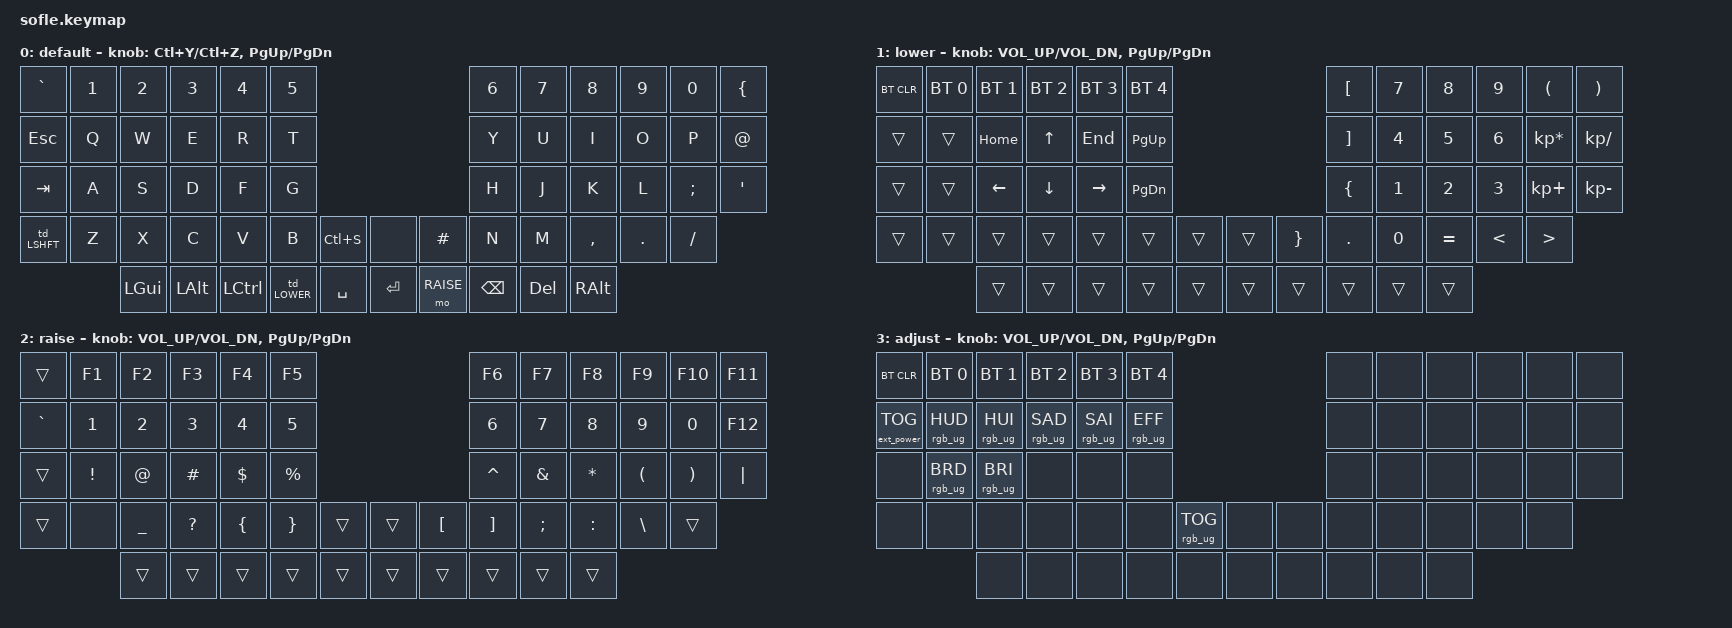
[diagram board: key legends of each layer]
/*
 * Copyright (c) 2020 The ZMK Contributors
 *
 * SPDX-License-Identifier: MIT
 */

#include <behaviors.dtsi>
#include <dt-bindings/zmk/keys.h>
#include <dt-bindings/zmk/bt.h>
#include <dt-bindings/zmk/rgb.h>
#include <dt-bindings/zmk/ext_power.h>
#include <dt-bindings/zmk/pointing.h>

#define MO_TOG(layer) &mo_tog layer layer   // Macro to apply momentary-layer-on-hold/toggle-layer-on-tap to a specific layer

#define BASE 0
#define LOWER 1
#define RAISE 2
#define ADJUST 3

&led_strip {
    chain-length = <36>;
};

&nice_view_spi {
    cs-gpios = <&pro_micro 4 GPIO_ACTIVE_HIGH>;
};

/ {

   // Activate ADJUST layer by pressing raise and lower
    conditional_layers {
        compatible = "zmk,conditional-layers";
        adjust_layer {
            if-layers = <LOWER RAISE>;
            then-layer = <ADJUST>;
        };
    };

    behaviors {
        td_LSHFT: tap_dance_mod_tap_lshift {
            compatible = "zmk,behavior-tap-dance";
            #binding-cells = <0>;
            tapping-term-ms = <200>;
            bindings = <&kp LSHIFT>, <&kt LSHIFT>;
        };
        td_LOWER: tap_dance_mod_tap_lower {
            compatible = "zmk,behavior-tap-dance";
            #binding-cells = <0>;
            tapping-term-ms = <200>;
            bindings = <&mo LOWER>, <&tog LOWER>;
        };
        mo_tog: behavior_mo_tog {
            compatible = "zmk,behavior-hold-tap";
            #binding-cells = <2>;
            flavor = "hold-preferred";
            tapping-term-ms = <200>;
            bindings = <&mo>, <&tog>;
        };
        scroll_encoder: scroll_encoder {
            compatible = "zmk,behavior-sensor-rotate";
            #sensor-binding-cells = <0>;
            bindings = <&msc SCRL_UP>, <&msc SCRL_DOWN>;
        };
    };
    
    keymap {
        compatible = "zmk,keymap";

        default_layer {
            display-name = "default";
                // ------------------------------------------------------------------------------------------------------------
                // |   `   |  1  |  2  |  3   |  4   |  5   |                   |  6   |  7    |  8    |  9   |   0   |   {   |
                // |  ESC  |  Q  |  W  |  E   |  R   |  T   |                   |  Y   |  U    |  I    |  O   |   P   |   @   |
                // |  TAB  |  A  |  S  |  D   |  F   |  G   |                   |  H   |  J    |  K    |  L   |   ;   |   '   |
                // | SHIFT |  Z  |  X  |  C   |  V   |  B   |  SAVE  |  |       |  #   |  N    |  M    |  ,   |   .   |   /   |
                //               | GUI | ALT  | CTRL | LOWER|  SPACE |  | ENTER | RAISE| BKSPC | DEL   |  ALT |
            bindings = <
                &kp GRAVE &kp N1 &kp N2   &kp N3   &kp N4    &kp N5                               &kp N6    &kp N7    &kp N8    &kp N9     &kp N0   &kp LBRC
                &kp ESC   &kp Q  &kp W    &kp E    &kp R     &kp T                                &kp Y     &kp U     &kp I     &kp O      &kp P    &kp AT
                &kp TAB   &kp A  &kp S    &kp D    &kp F     &kp G                                &kp H     &kp J     &kp K     &kp L      &kp SEMI &kp SQT
                &td_LSHFT &kp Z  &kp X    &kp C    &kp V     &kp B     &kp LC(S)    &none    &kp HASH  &kp N     &kp M     &kp COMMA  &kp DOT  &kp FSLH
                                 &kp LGUI &kp LALT &kp LCTRL &td_LOWER &kp SPACE    &kp RET  &mo RAISE &kp BSPC  &kp DEL   &kp RALT
            >;
            sensor-bindings = <
                &inc_dec_kp LC(Y) LC(Z) 
                &inc_dec_kp PG_UP PG_DN
                >;
        };

        lower_layer {
            display-name = "lower";
                // ------------------------------------------------------------------------------------------------------------
                // | BTCLR | BT1  | BT2  |  BT3  |  BT4  |  BT5 |                                           |   [  |  7   |   8   |  9   |  (    |   )   |
                // |       |      | HOME |   ^   |  END  | PGUP |                                           |   ]  |  4   |   5   |  6   |   *   |   /   |
                // |       |      |  <-  |   v   |   ->  | PGDN |                                           |   {  |  1   |   2   |  3   |   +   |   -   |
                // |       |      |      |       |       |      |      |                             |      |   }  |  .   |   0   |  =   |   <   |   >   |
                //                |      |       |       |      |      |                             |      |      |      |       |      |
            bindings = <
                &bt BT_CLR &bt BT_SEL 0 &bt BT_SEL 1 &bt BT_SEL 2 &bt BT_SEL 3 &bt BT_SEL 4                  &kp LBKT    &kp N7    &kp N8   &kp N9       &kp LPAR        &kp RPAR
                &trans     &trans       &kp HOME     &kp UP       &kp END      &kp PG_UP                     &kp RBKT    &kp N4    &kp N5   &kp N6       &kp KP_ASTERISK &kp KP_SLASH
                &trans     &trans       &kp LEFT     &kp DOWN     &kp RIGHT    &kp PG_DN                     &kp LBRC    &kp N1    &kp N2   &kp N3       &kp KP_PLUS     &kp KP_MINUS
                &trans     &trans       &trans       &trans       &trans       &trans        &trans  &trans  &kp RBRC    &kp DOT   &kp N0   &kp EQUAL &kp LT          &kp GT
                                        &trans       &trans       &trans       &trans        &trans  &trans  &trans    &trans    &trans   &trans
            >;
            sensor-bindings = <
                &inc_dec_kp C_VOL_UP C_VOL_DN  
                &inc_dec_kp PG_UP PG_DN
            >;
        };

        raise_layer {
            display-name = "raise";
                // ------------------------------------------------------------------------------------------------------------
                // |       |  F1 |   F2 |  F3  |  F4  |  F5  |                   |  F6  |  F7   |  F8   |  F9  |  F10  |  F11  |
                // |   `   |  1  |   2  |  3   |  4   |  5   |                   |  6   |  7    |  8    |  9   |   0   |  F12  |
                // |       |  !  |   @  |  #   |  $   |  %   |                   |  ^   |  &    |  *    |  (   |   )   |   |   |
                // |       |     |   _  |  ?   |  {   |  }   |        |  |       |  [   |  ]    |  ;    |  :   |   \   |       |
                //               |      |      |      |      |        |  |       |      |       |       |      |
            bindings = <
                &trans    &kp F1    &kp F2    &kp F3      &kp F4    &kp F5                    &kp F6    &kp F7   &kp F8    &kp F9    &kp F10   &kp F11
                &kp GRAVE &kp N1    &kp N2    &kp N3      &kp N4    &kp N5                    &kp N6    &kp N7   &kp N8    &kp N9    &kp N0    &kp F12
                &trans    &kp EXCL  &kp AT    &kp HASH    &kp DLLR  &kp PRCNT                 &kp CARET &kp AMPS &kp ASTRK &kp LPAR  &kp RPAR  &kp PIPE
                &trans    &none     &kp UNDER &kp QMARK   &kp LBRC  &kp RBRC   &trans &trans  &kp LBKT  &kp RBKT &kp SEMI  &kp COLON &kp BSLH  &trans
                                    &trans    &trans      &trans    &trans     &trans &trans  &trans    &trans   &trans    &trans
            >;
            sensor-bindings = <
                &inc_dec_kp C_VOL_UP C_VOL_DN 
                &inc_dec_kp PG_UP PG_DN
            >;
        };

        adjust_layer {
                // ----------------------------------------------------------------------------------------------------------------------------
                // | BTCLR  |  BT1    |  BT2    |   BT3   |   BT4   |   BT5   |                  |      |      |       |      |       |       |
                // | EXTPWR | RGB_HUD | RGB_HUI | RGB_SAD | RGB_SAI | RGB_EFF |                  |      |      |       |      |       |       |
                // |        | RGB_BRD | RGB_BRI |         |         |         |                  |      |      |       |      |       |       |
                // |        |         |         |         |         |         | RGB_TOG | |      |      |      |       |      |       |       |
                //                    |         |         |         |         |         | |      |      |      |       |      |
            display-name = "adjust";
            bindings = <
                &bt BT_CLR        &bt BT_SEL 0    &bt BT_SEL 1    &bt BT_SEL 2    &bt BT_SEL 3    &bt BT_SEL 4                            &none &none &none &none &none &none
                &ext_power EP_TOG &rgb_ug RGB_HUD &rgb_ug RGB_HUI &rgb_ug RGB_SAD &rgb_ug RGB_SAI &rgb_ug RGB_EFF                         &none &none &none &none &none &none
                &none             &rgb_ug RGB_BRD &rgb_ug RGB_BRI &none           &none           &none                                   &none &none &none &none &none &none
                &none             &none           &none           &none           &none           &none            &rgb_ug RGB_TOG &none  &none &none &none &none &none &none
                                                &none           &none           &none           &none            &none           &none  &none &none &none &none
            >;
            sensor-bindings = <
                &inc_dec_kp C_VOL_UP C_VOL_DN 
                &inc_dec_kp PG_UP PG_DN
            >;
        };

    };
};
